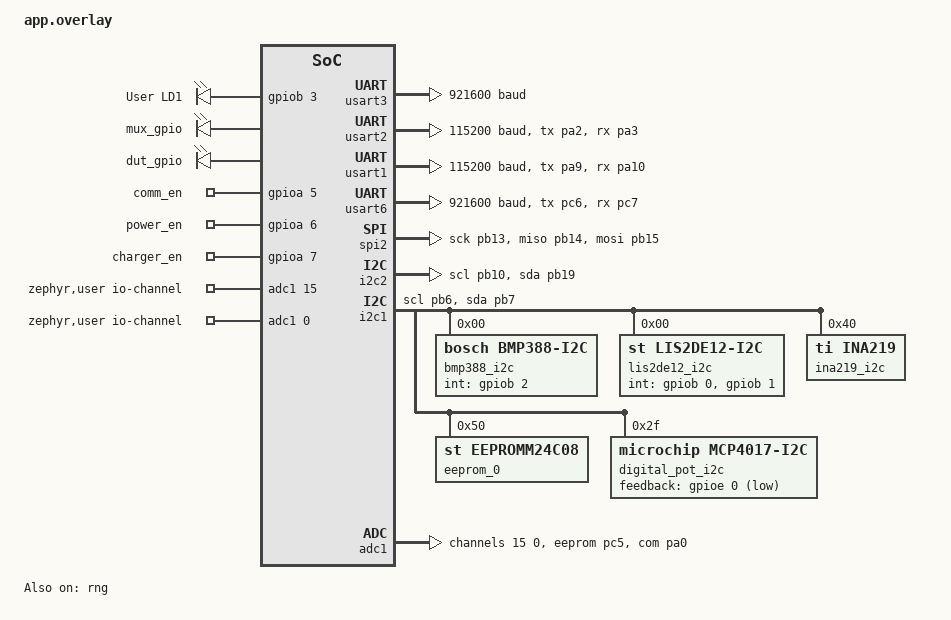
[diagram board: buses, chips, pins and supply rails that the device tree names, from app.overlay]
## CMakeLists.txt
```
cmake_minimum_required(VERSION 3.20.0)

find_package(Zephyr)
project(dns-sec)

target_sources(app PRIVATE src/main.c)
add_subdirectory(src/app)

# Hardcoded root path
set(MONOREPO_ROOT "/workspaces/concord")
set(MONOREPO_ROOT ${MONOREPO_ROOT} CACHE INTERNAL "Monorepo root directory")

# Cipher Library
zephyr_include_directories(${MONOREPO_ROOT}/libs/cipher/include)
zephyr_include_directories(${MONOREPO_ROOT}/libs/cipher/test/include)
add_subdirectory(${MONOREPO_ROOT}/libs/cipher ${CMAKE_CURRENT_BINARY_DIR}/_libs/cipher)
```

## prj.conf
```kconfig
# Logging
CONFIG_LOG=n
# CONFIG_GPIO=y
# CONFIG_GPIO_GET_DIRECTION=y
# CONFIG_LOG_MODE_IMMEDIATE=y
CONFIG_LOG_MODE_DEFERRED=y
CONFIG_LOG_BACKEND_SHOW_COLOR=y
CONFIG_POLL=y

# System
CONFIG_NUM_PREEMPT_PRIORITIES=121
CONFIG_ASSERT=y
CONFIG_POLL=y
CONFIG_BOOT_BANNER=y

# General config
CONFIG_NEWLIB_LIBC=y
CONFIG_MAIN_STACK_SIZE=10000

# Networking config
CONFIG_NETWORKING=y
CONFIG_NET_CONFIG_SETTINGS=y
CONFIG_NET_MGMT=y
CONFIG_NET_MGMT_EVENT=y

# CONFIG_NET_LOOPBACK=y
# CONFIG_NET_LOOPBACK_LOG_LEVEL_DBG=y

CONFIG_NET_IPV4=y
CONFIG_NET_DHCPV4=y
CONFIG_NET_CONFIG_NEED_IPV4=y
# CONFIG_NET_CONFIG_MY_IPV4_ADDR="10.4.2.107"
# CONFIG_NET_CONFIG_MY_IPV4_NETMASK="0.0.0.0"
CONFIG_NET_IPV6=n
CONFIG_NET_CONFIG_AUTO_INIT=n
CONFIG_NET_UDP=y
CONFIG_NET_TCP=y
CONFIG_NET_SOCKETS=y
CONFIG_NET_SOCKETS_POSIX_NAMES=y
CONFIG_NET_CONTEXT_SNDTIMEO=y
CONFIG_NET_CONTEXT_RCVTIMEO=y
CONFIG_NET_TCP_MAX_RECV_WINDOW_SIZE=5120
CONFIG_BASE64=y

# Enable the DNS resolver
CONFIG_DNS_RESOLVER=y
# CONFIG_DNS_RESOLVER_MAX_SERVERS=2
# CONFIG_DNS_SERVER_IP_ADDRESSES=y
# CONFIG_DNS_NUM_CONCUR_QUERIES=5

# Google DNS IPv4 and IPv6 servers
# CONFIG_DNS_SERVER1="1.1.1.1"
#CONFIG_DNS_SERVER2="2001:4860:4860::8888"

# Threads
CONFIG_PRINTK=y
CONFIG_HEAP_MEM_POOL_SIZE=256
CONFIG_ASSERT=y
CONFIG_GPIO=y

# Thread-Aware debugging
CONFIG_THREAD_MONITOR=y
CONFIG_INIT_STACKS=y
CONFIG_DEBUG_THREAD_INFO=y
CONFIG_THREAD_STACK_INFO=y
CONFIG_THREAD_NAME=y

# -- disable code optimization so we can debug
CONFIG_DEBUG_OPTIMIZATIONS=y
CONFIG_EXCEPTION_STACK_TRACE=y
CONFIG_DEBUG_INFO=y

# Thread analyzer
# CONFIG_THREAD_ANALYZER=y
# CONFIG_THREAD_ANALYZER_USE_LOG=y
# CONFIG_THREAD_ANALYZER_AUTO=y
# CONFIG_THREAD_ANALYZER_AUTO_INTERVAL=5

# -- system debug options
# CONFIG_SYS_HEAP_VALIDATE=y
# CONFIG_STACK_SENTINEL=y
CONFIG_STACK_USAGE=y

# Useful to detect stack overflows
# CONFIG_STACK_CANARIES=y
# CONFIG_DYNAMIC_OBJECTS=y
# CONFIG_HEAP_MEM_POOL_SIZE=100000

CONFIG_I2C=y
CONFIG_SENSOR=y
CONFIG_ADC=y

CONFIG_ALT_BMP388=y
# CONFIG_ALT_BMP390=y
CONFIG_ALT_I2C_DRV=y
CONFIG_LIS2DE12_I2C_DRV=y
CONFIG_EEPROM_M24C08_I2C_DRV=y
CONFIG_DIGITAL_POT_MCP4017_I2C_DRV=y
CONFIG_SN74LV4051A_MUX_DRV=y
CONFIG_DUT_GPIO_DRV=y



# CONFIG_SHELL=y
# CONFIG_I2C_SHELL=y
CONFIG_ENTROPY_GENERATOR=y
CONFIG_ENTROPY_STM32_RNG=y

# Enable Clocks
# CONFIG_CLOCK_CONTROL=y
# CONFIG_SOC_SERIES_STM32F4X=y

CONFIG_MAX_THREAD_BYTES=3
CONFIG_CK_IFACE_LIB_UART=y
CONFIG_CK_CIPHER_LIB=y
CONFIG_CK_CIPHER_LOG_LEVEL=4
CONFIG_CK_IFACE_SEND_BUFFER_COUNT=4
```

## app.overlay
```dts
#include <zephyr/dt-bindings/adc/adc.h>

&usart3 {
    current-speed = <0xe1000>;
};

&usart2 {
    dmas = <&dma1 6 4 (STM32_DMA_PERIPH_TX | STM32_DMA_MODE_NORMAL | STM32_DMA_PRIORITY_HIGH) 0x03>,
           <&dma1 7 6 (STM32_DMA_PERIPH_RX | STM32_DMA_MODE_NORMAL | STM32_DMA_PRIORITY_VERY_HIGH) 0x03>;
    dma-names = "tx", "rx";

    status = "okay";
    pinctrl-0 = <&usart2_tx_pa2 &usart2_rx_pa3>;
    pinctrl-names = "default";
    current-speed = <115200>;
    parity = "none";
    stop-bits = "1";
    data-bits = <8>;
};

&dma1 {
    status = "okay";
};

&dma2 {
    status = "okay";
};

&usart1 {
	dmas = <&dma2 7 4 (STM32_DMA_PERIPH_TX | STM32_DMA_MODE_NORMAL | STM32_DMA_PRIORITY_HIGH) 0x03>,
           <&dma2 5 4 (STM32_DMA_PERIPH_RX | STM32_DMA_MODE_NORMAL | STM32_DMA_PRIORITY_VERY_HIGH) 0x03>;
    dma-names = "tx", "rx";

	status = "okay";
	pinctrl-0 = <&usart1_tx_pa9 &usart1_rx_pa10>;
	pinctrl-names = "default";
	current-speed = <115200>;
	parity = "none";
	stop-bits = "1";
	data-bits = <8>;
};

&usart6 {
	current-speed = <921600>;
	status = "okay";
	pinctrl-0 = <&usart6_tx_pc6 &usart6_rx_pc7>;
	pinctrl-names = "default";
	parity = "none";
	stop-bits = "1";
	data-bits = <8>;
};

&clk_lse {
	status = "okay";
};

&clk_hsi {
	status = "okay";
};

&clk_hse {
	clock-frequency = <DT_FREQ_M(25)>; /* STLink 8MHz clock */
	status = "disabled";
};


&pll {
	div-m = <8>; // was 12 
	mul-n = <96>;
	div-p = <2>;
	div-q = <2>;
	clocks = <&clk_hsi>;
	status = "okay";
};


&rcc {
	clocks = <&pll>;
	clock-frequency = <DT_FREQ_M(48)>;  /*HCLK(MHz) = SYSCLK / AHB prescaler */
	ahb-prescaler = <2>;
	apb1-prescaler = <1>;
	apb2-prescaler = <1>;
};

&pinctrl {
        adc1_eeprom_pc5: adc1-pc5 {
            pinmux = <STM32_PINMUX('C', 5, ANALOG)>;
        };

		adc1_mux_com_pa0: adc1-pa0 {
			pinmux = <STM32_PINMUX('A', 0, ANALOG)>;
		};

		i2c1_scl_pb6: i2c1_scl_pb6 {
			pinmux = < STM32_PINMUX('B', 6, AF4) >;
			bias-pull-up;
			drive-open-drain;
		};
		i2c1_sda_pb7: i2c1_sda_pb7 {
			pinmux = < STM32_PINMUX('B', 7, AF4) >;
			bias-pull-up;
			drive-open-drain;
		};
		i2c2_scl_pb10: i2c2_scl_pb10 {
			pinmux = < STM32_PINMUX('B', 10, AF4) >;
			drive-open-drain;
		};
		i2c2_sda_pb19: i2c2_sda_pb19 {
			pinmux = < STM32_PINMUX('B', 9, AF9) >;
			drive-open-drain;
		};
		usart2_rx_pa3: usart2_rx_pa3 {
			pinmux = <STM32_PINMUX('A', 3, AF7)>;
		};
		usart2_tx_pa2: usart2_tx_pa2 {
			pinmux = <STM32_PINMUX('A', 2, AF7)>;
		};
		usart1_tx_pa9: usart1_tx_pa9 {
			pinmux = <STM32_PINMUX('A', 9, AF7)>;
		};
		usart1_rx_pa10: usart1_rx_pa10 {
			bias-pull-up;
			pinmux = <STM32_PINMUX('A', 10, AF7)>;
		};
		usart6_tx_pc6: usart6_tx_pc6 {
			pinmux = <STM32_PINMUX('C', 6, AF8)>;
		};
		usart6_rx_pc7: usart6_rx_pc7 {
			pinmux = <STM32_PINMUX('C', 7, AF8)>;
		};
		spi2_sck_pb13: spi2_sck_pb13 {
			pinmux = <STM32_PINMUX('B', 13, AF5)>;
		};
		spi2_miso_pb14: spi2_miso_pb14 {
			pinmux = <STM32_PINMUX('B', 14, AF5)>;
		};
		spi2_mosi_pb15: spi2_mosi_pb15 {
			pinmux = <STM32_PINMUX('B', 15, AF5)>;
		};

    };

&spi2 {
	status = "okay";
	pinctrl-0 = <&spi2_sck_pb13 &spi2_miso_pb14 &spi2_mosi_pb15>;
	pinctrl-names = "default";
	// cs-gpios = <&gpiob 12 GPIO_ACTIVE_LOW>;
	// max-frequency = <10000000>;
};

&i2c2 {
	status = "okay";
	pinctrl-0 = <&i2c2_scl_pb10 &i2c2_sda_pb19>;
	pinctrl-names = "default";
};

&i2c1 {
	status = "okay";
	pinctrl-0 = <&i2c1_scl_pb6 &i2c1_sda_pb7>;
	pinctrl-names = "default";

    bmp388_i2c: bmp388_i2c@0 {
        compatible = "bosch,bmp388-i2c";
        reg = <0>;
        int-gpios = <&gpiob 2 GPIO_ACTIVE_HIGH>; 
    };

	lis2de12_i2c: lis2de12_i2c@0 {
        compatible = "st,lis2de12-i2c";
        reg = <0>;
        int-gpios = <&gpiob 0 GPIO_ACTIVE_HIGH>,
                    <&gpiob 1 GPIO_ACTIVE_HIGH>;
    };

    ina219_i2c: ina219_i2c@40 {
		status = "okay";
		compatible = "ti,ina219";
		reg = <0x40>;
		brng = <0>;
		pg = <0>;
		sadc = <13>;
		badc = <13>;
		shunt-milliohm = <100>;
		lsb-microamp = <10>;
	};

	eeprom_0: eeprom_0@50 {
        compatible = "st,eepromm24c08"; 
        reg = <0x50>; // EEPROM's I2C address
        size = <1024>; // EEPROM size in bytes 
    };

	digital_pot_i2c: digital_pot_i2c@2F {
		compatible = "microchip,mcp4017-i2c";
		reg = <0x2F>; // mcp4017 device Address
		feedback-gpios = <&gpioe 0 GPIO_ACTIVE_LOW>;
	};

};

&adc1 {
	#address-cells = <1>;
	#size-cells = <0>;
	status = "okay";
	pinctrl-0 = <&adc1_eeprom_pc5 &adc1_mux_com_pa0>;
	pinctrl-names = "default";

	channel@f {
		reg = <15>;
		zephyr,gain = "ADC_GAIN_1";
		zephyr,reference = "ADC_REF_INTERNAL";
		zephyr,acquisition-time = <ADC_ACQ_TIME_DEFAULT>;
		zephyr,resolution = <12>;
		zephyr,vref-mv = <3300>; // 3.3V
	};

	channel@0 {
		reg = <0>;
		zephyr,gain = "ADC_GAIN_1";
		zephyr,reference = "ADC_REF_INTERNAL";
		zephyr,acquisition-time = <ADC_ACQ_TIME_DEFAULT>;
		zephyr,resolution = <12>;
		zephyr,vref-mv = <3300>; // 3.3V
	};
};

&rng {
	status = "okay";
};


/{
	leds {
		compatible = "gpio-leds";
		grr: led_0 {
			gpios = < &gpiob 3 0x0 >; // EEPROM WC
			label = "User LD1";
		};

		mux_gpio: mux_gpio {
			compatible="ti,sn74lv4051ad";
			select-gpios = <&gpioc 2 GPIO_ACTIVE_HIGH>,  // MUX.SELECT.A
						   <&gpioc 1 GPIO_ACTIVE_HIGH>,  // MUX.SELECT.B
						   <&gpioc 0 GPIO_ACTIVE_HIGH>,  // MUX.SELECT.C
						   <&gpioc 3 GPIO_ACTIVE_LOW>;  // MUX.ENABLE
		};

		dut_gpio: dut_gpio {
			compatible="ti,sn74lv4051ad";
			select-gpios = <&gpioa 12 GPIO_ACTIVE_LOW>, // DUT.GPIO.0
						   <&gpioa 15 GPIO_ACTIVE_HIGH>, // DUT.GPIO.1
						   <&gpiod 2 GPIO_ACTIVE_HIGH>,  // DUT.GPIO.2
						   <&gpiob 4 GPIO_ACTIVE_HIGH>,  // DUT.GPIO.3
						   <&gpiob 5 GPIO_ACTIVE_HIGH>,  // DUT.GPIO.4
						   <&gpiob 8 GPIO_ACTIVE_HIGH>,  // DUT.GPIO.5
						   <&gpioc 13 GPIO_ACTIVE_HIGH>; // DUT.GPIO.6
		};

		comm_en: comm_en {
			gpios = <&gpioa 5 GPIO_ACTIVE_HIGH>;
		};

		power_en:power_en {
			gpios = <&gpioa 6 GPIO_ACTIVE_HIGH>;
		};

		charger_en: charger_en {
			gpios = <&gpioa 7 GPIO_ACTIVE_HIGH>;
		};

	};

		zephyr,user {
		/* adjust channel number according to pinmux in board.dts
			adc1 - channel 15 => PC5 => adc feedback pin for digital pot
			adc1 - channel 5  => PA5 => adc com pin for mux
		 */
		io-channels = <&adc1 15 &adc1 0>;
	};

	chosen {
		zephyr,console = &usart6;
		zephyr,shell-uart = &usart6;
	};

	aliases {
        iface-uart = &usart2;
		nrf9160-uart = &usart1;
		nrf52840-uart = &usart6;
    };

};
```

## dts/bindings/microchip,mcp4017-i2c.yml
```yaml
description: "microchip digital potentiometer"

compatible: "microchip,mcp4017-i2c"

include: base.yaml

properties:
    feedback-gpios:
      type: phandle-array
      required: true
```

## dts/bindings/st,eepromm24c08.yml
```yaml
description: "STMicroelectronics M24C08 EEPROM"

compatible: "st,eepromm24c08"

include: [ "eeprom-base.yaml" ]

properties:
  size:
    type: int
    required: false
    description: Size of the EEPROM in bytes.
```

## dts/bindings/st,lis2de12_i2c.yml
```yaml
description: ST LIS2DE12 Accelerometer (I2C)

compatible: "st,lis2de12-i2c"

include: base.yaml

on-bus: i2c

properties:
    int-gpios:
      type: phandle-array
      required: true
```

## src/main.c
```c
// Zephyr includes
#include <zephyr/kernel.h>
#include <zephyr/logging/log.h>
#include <zephyr/logging/log_ctrl.h>
#include <zephyr/sys/reboot.h>

// Corekinect includes
#include <corekinect/cipher/cipher.h>

// App includes
#include "config/config.h"
#include "app/app.h"
#include "app/uart.h"

// Protocol includes
#include "protos/mtib_pi_stm/mtib-pi-stm.cipher.h"

LOG_MODULE_REGISTER(app, LOG_LEVEL_DBG);

void init_daemon()
{
    // Instantiate
    if (!cipher_daemon_init(get_daemon_config()))
    {
        LOG_ERR("Could not initialize cipher application daemon");
        k_fatal_halt(0);
    }

    // Register services
    if (!cipher_register_service(get_mtibpistmservice_info(), true))
    {
        LOG_ERR("Could not register local services with daemon");
        k_fatal_halt(0);
    }
}

// Entry
int main(void)
{
    static app_info_t app = {0};
    app_mtib_init(&app);
    if (!app_uart_forwarder_init())
    {
        LOG_ERR("%s", "Could not initialize UART port forwarder");
    }

    init_daemon();

    k_sleep(K_FOREVER);
}

void arch_system_halt(unsigned int reason)
{
    ARG_UNUSED(reason);

    LOG_ERR("A fatal error has occurred, resetting platform");

    LOG_PANIC();

    k_msleep(1000);

    sys_reboot(SYS_REBOOT_COLD);
}
```
